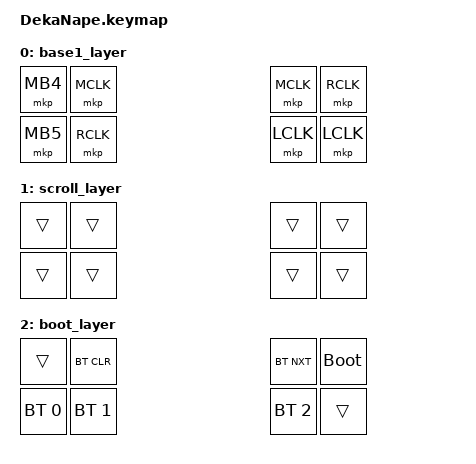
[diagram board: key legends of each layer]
/*
 * Copyright (c) 2020 The ZMK Contributors
 *
 * SPDX-License-Identifier: MIT
 */

#include <input/processors.dtsi>
#include <behaviors.dtsi>
#include <dt-bindings/zmk/bt.h>
#include <dt-bindings/zmk/keys.h>
#include <dt-bindings/zmk/mouse.h>
#include <scroll-snap.dtsi>

#define BASE   0
#define SCROLL 1
#define BOOT   2


&trackball_scroller {
    layers = <SCROLL>;
    input-processors =
        <&zip_xy_scaler 1 25 &zip_xy_to_scroll_mapper &zip_scroll_snap>,
        <&zip_scroll_transform (INPUT_TRANSFORM_Y_INVERT)>;
};
/ {
 combos {
        compatible = "zmk,combos";

        mo_boot {
            bindings = <&mo BOOT>;
            key-positions = <0 7>;
        };
        
        mo_scroll {
            bindings = <&mo SCROLL>;
           key-positions = <3 7>;
        };

    };

    behaviors {

    };

    keymap {
        compatible = "zmk,keymap";

        base1_layer {
            bindings = <
&mkp MB4   &mkp MCLK      &mkp MCLK  &mkp RCLK
&mkp MB5   &mkp RCLK      &mkp LCLK  &mkp LCLK  
            >;
        };

        scroll_layer {
            bindings = <
&trans   &trans      &trans   &trans
&trans   &trans      &trans  &trans 
            >;
        };

        boot_layer {
            bindings = <
&trans         &bt BT_CLR        &bt BT_NXT      &bootloader
&bt BT_SEL 0   &bt BT_SEL 1      &bt BT_SEL 2    &trans
            >;
        };
    };
};
